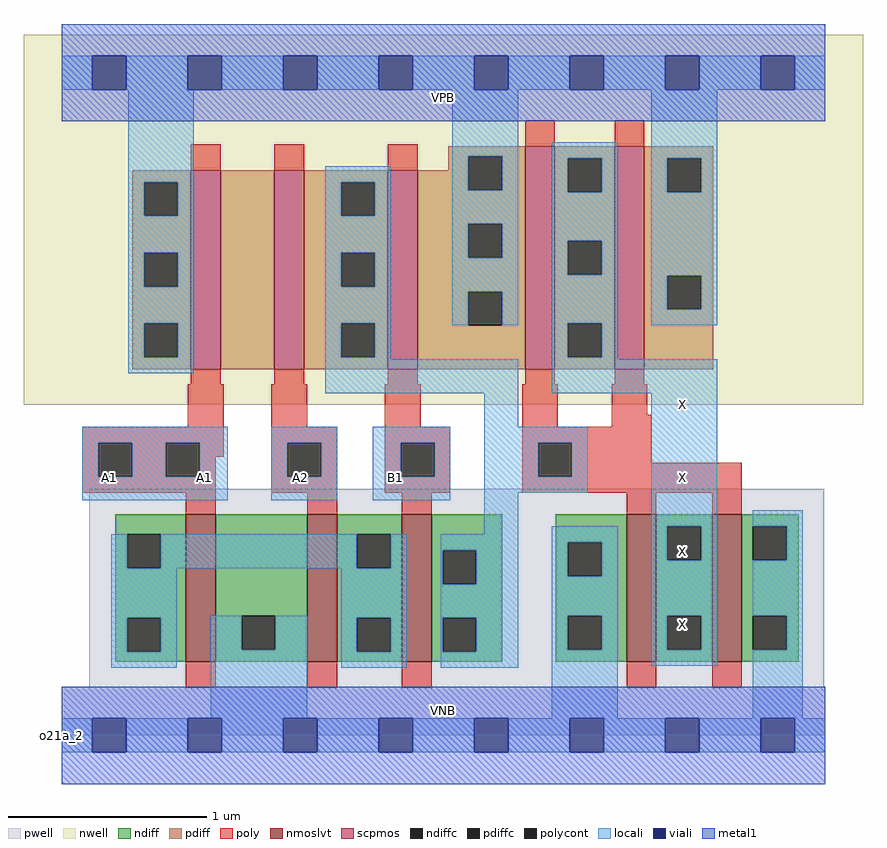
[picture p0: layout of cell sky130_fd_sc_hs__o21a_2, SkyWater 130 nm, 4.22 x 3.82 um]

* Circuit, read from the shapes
.subckt sky130_fd_sc_hs__o21a_2 A1 A2 B1 VGND VNB VPB VPWR X
XM1 VGND A1 n1 VNB sky130_fd_pr__nfet_01v8_lvt w=0.74 l=0.15
XM2 n1 A2 VGND VNB sky130_fd_pr__nfet_01v8_lvt w=0.74 l=0.15
XM3 n2 B1 n1 VNB sky130_fd_pr__nfet_01v8_lvt w=0.74 l=0.15
XM4 X n2 VGND VNB sky130_fd_pr__nfet_01v8_lvt w=0.74 l=0.15 m=2
XM5 n3 A1 VPWR VPB sky130_fd_pr__pfet_01v8 w=1 l=0.15
XM6 n2 A2 n3 VPB sky130_fd_pr__pfet_01v8 w=1 l=0.15
XM7 VPWR B1 n2 VPB sky130_fd_pr__pfet_01v8 w=1 l=0.15
XM8 X n2 VPWR VPB sky130_fd_pr__pfet_01v8 w=1.12 l=0.15 m=2
.ends

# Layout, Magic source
magic
tech sky130A
magscale 1 2
<< nwell >>
rect -38 332 806 704
<< pwell >>
rect 28 49 767 248
rect 0 0 768 49
<< scpmos >>
rect 130 368 160 568
rect 214 368 244 568
rect 328 368 358 568
rect 466 368 496 592
rect 556 368 586 592
<< nmoslvt >>
rect 125 74 155 222
rect 247 74 277 222
rect 342 74 372 222
rect 568 74 598 222
rect 654 74 684 222
<< ndiff >>
rect 54 202 125 222
rect 54 168 66 202
rect 100 168 125 202
rect 54 118 125 168
rect 54 84 66 118
rect 100 84 125 118
rect 54 74 125 84
rect 155 120 247 222
rect 155 86 181 120
rect 215 86 247 120
rect 155 74 247 86
rect 277 202 342 222
rect 277 168 297 202
rect 331 168 342 202
rect 277 118 342 168
rect 277 84 297 118
rect 331 84 342 118
rect 277 74 342 84
rect 372 186 443 222
rect 372 152 383 186
rect 417 152 443 186
rect 372 118 443 152
rect 372 84 383 118
rect 417 84 443 118
rect 372 74 443 84
rect 497 194 568 222
rect 497 160 509 194
rect 543 160 568 194
rect 497 120 568 160
rect 497 86 509 120
rect 543 86 568 120
rect 497 74 568 86
rect 598 210 654 222
rect 598 176 609 210
rect 643 176 654 210
rect 598 120 654 176
rect 598 86 609 120
rect 643 86 654 120
rect 598 74 654 86
rect 684 210 741 222
rect 684 176 695 210
rect 729 176 741 210
rect 684 120 741 176
rect 684 86 695 120
rect 729 86 741 120
rect 684 74 741 86
<< pdiff >>
rect 389 582 466 592
rect 389 568 409 582
rect 71 556 130 568
rect 71 522 83 556
rect 117 522 130 556
rect 71 485 130 522
rect 71 451 83 485
rect 117 451 130 485
rect 71 414 130 451
rect 71 380 83 414
rect 117 380 130 414
rect 71 368 130 380
rect 160 368 214 568
rect 244 556 328 568
rect 244 522 281 556
rect 315 522 328 556
rect 244 485 328 522
rect 244 451 281 485
rect 315 451 328 485
rect 244 414 328 451
rect 244 380 281 414
rect 315 380 328 414
rect 244 368 328 380
rect 358 548 409 568
rect 443 548 466 582
rect 358 514 466 548
rect 358 480 409 514
rect 443 480 466 514
rect 358 446 466 480
rect 358 412 409 446
rect 443 412 466 446
rect 358 368 466 412
rect 496 580 556 592
rect 496 546 509 580
rect 543 546 556 580
rect 496 497 556 546
rect 496 463 509 497
rect 543 463 556 497
rect 496 414 556 463
rect 496 380 509 414
rect 543 380 556 414
rect 496 368 556 380
rect 586 580 655 592
rect 586 546 609 580
rect 643 546 655 580
rect 586 462 655 546
rect 586 428 609 462
rect 643 428 655 462
rect 586 368 655 428
<< ndiffc >>
rect 66 168 100 202
rect 66 84 100 118
rect 181 86 215 120
rect 297 168 331 202
rect 297 84 331 118
rect 383 152 417 186
rect 383 84 417 118
rect 509 160 543 194
rect 509 86 543 120
rect 609 176 643 210
rect 609 86 643 120
rect 695 176 729 210
rect 695 86 729 120
<< pdiffc >>
rect 83 522 117 556
rect 83 451 117 485
rect 83 380 117 414
rect 281 522 315 556
rect 281 451 315 485
rect 281 380 315 414
rect 409 548 443 582
rect 409 480 443 514
rect 409 412 443 446
rect 509 546 543 580
rect 509 463 543 497
rect 509 380 543 414
rect 609 546 643 580
rect 609 428 643 462
<< poly >>
rect 130 568 160 594
rect 214 568 244 594
rect 328 568 358 594
rect 466 592 496 618
rect 556 592 586 618
rect 130 353 160 368
rect 214 353 244 368
rect 328 353 358 368
rect 466 353 496 368
rect 556 353 586 368
rect 127 310 163 353
rect 21 294 163 310
rect 21 260 37 294
rect 71 260 105 294
rect 139 280 163 294
rect 211 310 247 353
rect 325 310 361 353
rect 463 310 499 353
rect 553 322 589 353
rect 553 310 593 322
rect 211 294 277 310
rect 139 260 155 280
rect 21 244 155 260
rect 211 260 227 294
rect 261 260 277 294
rect 211 244 277 260
rect 325 294 391 310
rect 325 260 341 294
rect 375 260 391 294
rect 325 244 391 260
rect 463 294 593 310
rect 463 260 479 294
rect 513 274 593 294
rect 513 260 684 274
rect 463 244 684 260
rect 125 222 155 244
rect 247 222 277 244
rect 342 222 372 244
rect 568 222 598 244
rect 654 222 684 244
rect 125 48 155 74
rect 247 48 277 74
rect 342 48 372 74
rect 568 48 598 74
rect 654 48 684 74
<< polycont >>
rect 37 260 71 294
rect 105 260 139 294
rect 227 260 261 294
rect 341 260 375 294
rect 479 260 513 294
<< locali >>
rect 0 649 31 683
rect 65 649 127 683
rect 161 649 223 683
rect 257 649 319 683
rect 353 649 415 683
rect 449 649 511 683
rect 545 649 607 683
rect 641 649 703 683
rect 737 649 768 683
rect 67 556 133 649
rect 393 582 459 649
rect 67 522 83 556
rect 117 522 133 556
rect 67 485 133 522
rect 67 451 83 485
rect 117 451 133 485
rect 67 414 133 451
rect 67 380 83 414
rect 117 380 133 414
rect 67 364 133 380
rect 265 556 331 572
rect 265 522 281 556
rect 315 522 331 556
rect 265 485 331 522
rect 265 451 281 485
rect 315 451 331 485
rect 265 414 331 451
rect 265 380 281 414
rect 315 380 331 414
rect 393 548 409 582
rect 443 548 459 582
rect 393 514 459 548
rect 393 480 409 514
rect 443 480 459 514
rect 393 446 459 480
rect 393 412 409 446
rect 443 412 459 446
rect 493 580 559 596
rect 493 546 509 580
rect 543 546 559 580
rect 493 497 559 546
rect 493 463 509 497
rect 543 463 559 497
rect 493 414 559 463
rect 265 378 331 380
rect 493 380 509 414
rect 543 380 559 414
rect 593 580 659 649
rect 593 546 609 580
rect 643 546 659 580
rect 593 462 659 546
rect 593 428 609 462
rect 643 428 659 462
rect 593 412 659 428
rect 493 378 559 380
rect 265 344 459 378
rect 493 344 659 378
rect 425 310 459 344
rect 21 294 167 310
rect 21 260 37 294
rect 71 260 105 294
rect 139 260 167 294
rect 21 236 167 260
rect 211 294 277 310
rect 211 260 227 294
rect 261 260 277 294
rect 211 236 277 260
rect 313 294 391 310
rect 313 260 341 294
rect 375 260 391 294
rect 313 236 391 260
rect 425 294 529 310
rect 425 260 479 294
rect 513 260 529 294
rect 425 244 529 260
rect 425 202 459 244
rect 593 210 659 344
rect 50 168 66 202
rect 100 168 297 202
rect 331 168 347 202
rect 50 118 116 168
rect 50 84 66 118
rect 100 84 116 118
rect 50 68 116 84
rect 150 86 181 120
rect 215 86 247 120
rect 150 17 247 86
rect 281 118 347 168
rect 281 84 297 118
rect 331 84 347 118
rect 281 68 347 84
rect 381 186 459 202
rect 381 152 383 186
rect 417 152 459 186
rect 381 118 459 152
rect 381 84 383 118
rect 417 84 459 118
rect 381 68 459 84
rect 493 194 559 210
rect 493 160 509 194
rect 543 160 559 194
rect 493 120 559 160
rect 493 86 509 120
rect 543 86 559 120
rect 493 17 559 86
rect 593 176 609 210
rect 643 176 659 210
rect 593 120 659 176
rect 593 86 609 120
rect 643 86 659 120
rect 593 70 659 86
rect 695 210 745 226
rect 729 176 745 210
rect 695 120 745 176
rect 729 86 745 120
rect 695 17 745 86
rect 0 -17 31 17
rect 65 -17 127 17
rect 161 -17 223 17
rect 257 -17 319 17
rect 353 -17 415 17
rect 449 -17 511 17
rect 545 -17 607 17
rect 641 -17 703 17
rect 737 -17 768 17
<< viali >>
rect 31 649 65 683
rect 127 649 161 683
rect 223 649 257 683
rect 319 649 353 683
rect 415 649 449 683
rect 511 649 545 683
rect 607 649 641 683
rect 703 649 737 683
rect 31 -17 65 17
rect 127 -17 161 17
rect 223 -17 257 17
rect 319 -17 353 17
rect 415 -17 449 17
rect 511 -17 545 17
rect 607 -17 641 17
rect 703 -17 737 17
<< metal1 >>
rect 0 683 768 715
rect 0 649 31 683
rect 65 649 127 683
rect 161 649 223 683
rect 257 649 319 683
rect 353 649 415 683
rect 449 649 511 683
rect 545 649 607 683
rect 641 649 703 683
rect 737 649 768 683
rect 0 617 768 649
rect 0 17 768 49
rect 0 -17 31 17
rect 65 -17 127 17
rect 161 -17 223 17
rect 257 -17 319 17
rect 353 -17 415 17
rect 449 -17 511 17
rect 545 -17 607 17
rect 641 -17 703 17
rect 737 -17 768 17
rect 0 -49 768 -17
<< labels >>
rlabel comment s 0 0 0 0 4 o21a_2
flabel pwell s 0 0 768 49 0 FreeSans 200 0 0 0 VNB
port 5 nsew ground bidirectional
flabel nwell s 0 617 768 666 0 FreeSans 200 0 0 0 VPB
port 6 nsew power bidirectional
flabel metal1 s 0 617 768 666 0 FreeSans 340 0 0 0 VPWR
port 7 nsew power bidirectional
flabel metal1 s 0 0 768 49 0 FreeSans 340 0 0 0 VGND
port 4 nsew ground bidirectional
flabel locali s 31 242 65 276 0 FreeSans 340 0 0 0 A1
port 1 nsew signal input
flabel locali s 127 242 161 276 0 FreeSans 340 0 0 0 A1
port 1 nsew signal input
flabel locali s 223 242 257 276 0 FreeSans 340 0 0 0 A2
port 2 nsew signal input
flabel locali s 319 242 353 276 0 FreeSans 340 0 0 0 B1
port 3 nsew signal input
flabel locali s 607 94 641 128 0 FreeSans 340 0 0 0 X
port 8 nsew signal output
flabel locali s 607 168 641 202 0 FreeSans 340 0 0 0 X
port 8 nsew signal output
flabel locali s 607 242 641 276 0 FreeSans 340 0 0 0 X
port 8 nsew signal output
flabel locali s 607 316 641 350 0 FreeSans 340 0 0 0 X
port 8 nsew signal output
<< properties >>
string LEFsite unit
string LEFclass CORE
string FIXED_BBOX 0 0 768 666
string GDS_FILE $PDKPATH/libs.ref/sky130_fd_sc_hs/gds/sky130_fd_sc_hs.gds
string LEFsymmetry X Y
string GDS_END 832184
string GDS_START 825196
<< end >>
